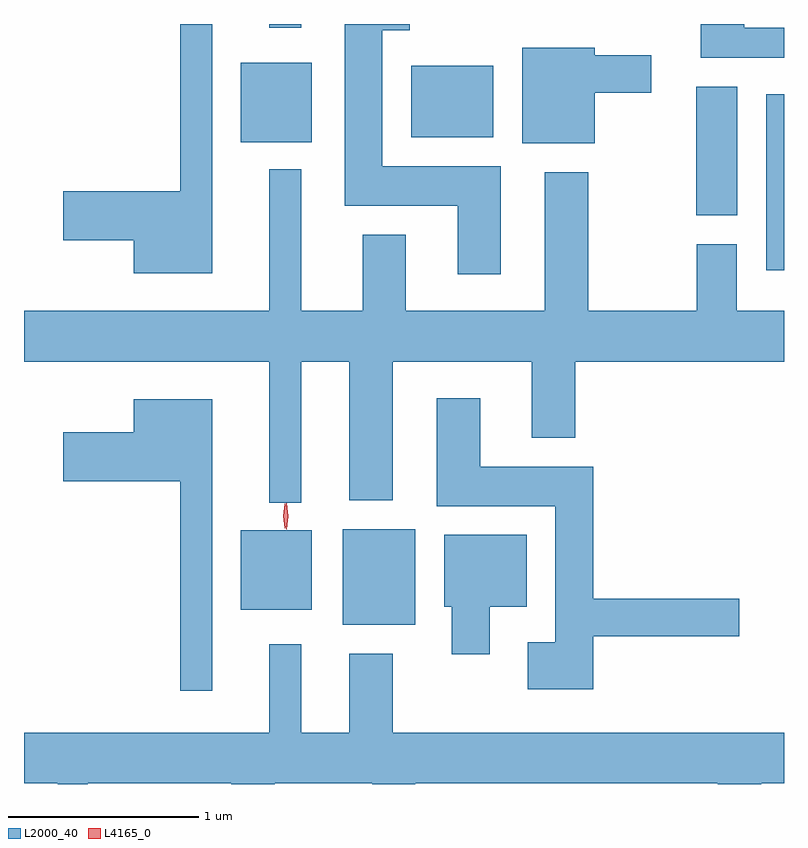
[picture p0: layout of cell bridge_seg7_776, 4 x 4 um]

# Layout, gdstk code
import gdstk
lib = gdstk.Library(unit=1e-6, precision=1e-09)
def R(c, l, rs):  # rectangles x0, y0, x1, y1
    for r in rs: c.add(gdstk.rectangle(r[:2], r[2:], *l))
def P(c, l, *ps):  # polygons
    for p in ps: c.add(gdstk.Polygon(p, *l))
L2000_40 = (2000, 40)
L4165_0 = (4165, 0)

bridge_seg7_776 = lib.new_cell('bridge_seg7_776')
R(bridge_seg7_776, L2000_40, [(378.826,1752.891,379.209,1753.394), (378.291,1752.971,378.664,1753.389), (381.056,1754.756,381.149,1755.684), (380.686,1755.046,380.904,1755.724), (378.291,1755.431,378.664,1755.849), (379.186,1755.456,379.619,1755.834), (378.441,1756.033,378.609,1756.053)])
P(bridge_seg7_776, L2000_40, [(378.139,1756.053),(377.971,1756.053),(377.971,1755.174),(377.356,1755.174),(377.356,1754.916),(377.726,1754.916),(377.726,1754.741),(378.139,1754.741)],
  [(379.659,1755.304),(379.034,1755.304),(379.034,1756.021),(379.179,1756.021),(379.179,1756.053),(378.836,1756.053),(378.836,1755.096),(379.431,1755.096),(379.431,1754.736),(379.659,1754.736)],
  [(381.149,1756.034),(380.939,1756.034),(380.939,1756.053),(380.711,1756.053),(380.711,1755.876),(381.149,1755.876)],
  [(380.154,1755.691),(380.449,1755.691),(380.449,1755.889),(380.154,1755.889),(380.154,1755.929),(379.771,1755.929),(379.771,1755.426),(380.154,1755.426)],
  [(378.609,1754.276),(378.861,1754.276),(378.861,1753.546),(379.089,1753.546),(379.089,1754.276),(379.821,1754.276),(379.821,1753.876),(380.049,1753.876),(380.049,1754.276),(381.149,1754.276),(381.149,1754.544),(380.899,1754.544),(380.899,1754.894),(380.691,1754.894),(380.691,1754.544),(380.119,1754.544),(380.119,1755.274),(379.891,1755.274),(379.891,1754.544),(379.159,1754.544),(379.159,1754.944),(378.931,1754.944),(378.931,1754.544),(378.609,1754.544),(378.609,1755.288),(378.441,1755.288),(378.441,1754.544),(377.149,1754.544),(377.149,1754.276),(378.441,1754.276),(378.441,1753.533),(378.609,1753.533)],
  [(380.144,1752.831),(380.914,1752.831),(380.914,1753.029),(380.144,1753.029),(380.144,1753.724),(379.549,1753.724),(379.549,1754.084),(379.321,1754.084),(379.321,1753.516),(379.946,1753.516),(379.946,1752.799),(379.801,1752.799),(379.801,1752.551),(380.144,1752.551)],
  [(378.139,1754.079),(377.726,1754.079),(377.726,1753.904),(377.356,1753.904),(377.356,1753.646),(377.971,1753.646),(377.971,1752.543),(378.139,1752.543)],
  [(379.599,1752.986),(379.794,1752.986),(379.794,1753.364),(379.361,1753.364),(379.361,1752.986),(379.401,1752.986),(379.401,1752.736),(379.599,1752.736)],
  [(377.484,1752.056),(378.241,1752.056),(378.241,1752.053),(378.469,1752.053),(378.469,1752.056),(378.981,1752.056),(378.981,1752.053),(379.209,1752.053),(379.209,1752.056),(380.801,1752.056),(380.801,1752.053),(381.029,1752.053),(381.029,1752.056),(381.149,1752.056),(381.149,1752.324),(379.089,1752.324),(379.089,1752.739),(378.861,1752.739),(378.861,1752.324),(378.609,1752.324),(378.609,1752.788),(378.441,1752.788),(378.441,1752.324),(377.149,1752.324),(377.149,1752.056),(377.326,1752.056),(377.326,1752.053),(377.484,1752.053)])
P(bridge_seg7_776, L4165_0, [(378.53,1753.394),(378.521,1753.462),(378.53,1753.53),(378.531,1753.531),(378.531,1753.53),(378.541,1753.462),(378.531,1753.394),(378.531,1753.394)],
  [(378.522,1753.398),(378.513,1753.463),(378.522,1753.527),(378.523,1753.527),(378.523,1753.527),(378.533,1753.463),(378.523,1753.398),(378.523,1753.398)])

lib.write_gds('bridge_seg7_776.gds')
